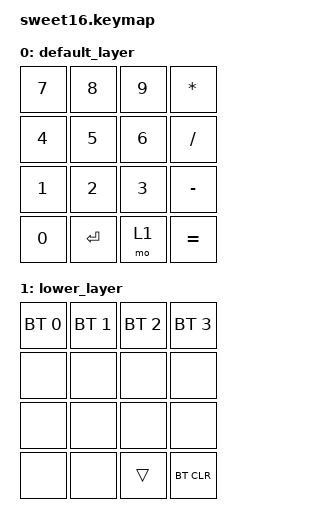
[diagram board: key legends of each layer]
/*
 * Copyright (c) 2022 The ZMK Contributors
 *
 * SPDX-License-Identifier: MIT
 */

#include <behaviors.dtsi>
#include <dt-bindings/zmk/keys.h>
#include <dt-bindings/zmk/bt.h>
#include <dt-bindings/zmk/rgb.h>

/ {
        keymap {
                compatible = "zmk,keymap";

                default_layer {
// --------------------------
// | 7 |  8  |  9  | * |
// | 4 |  5  |  6  | / |
// | 1 |  2  |  3  | - |
// | 0 | ENT | LWR | = |
                        bindings = <
   &kp N7 &kp N8    &kp N9 &kp ASTERISK
   &kp N4 &kp N5    &kp N6 &kp SLASH
   &kp N1 &kp N2    &kp N3 &kp MINUS
   &kp N0 &kp ENTER &mo 1  &kp EQUAL
                        >;
                };

                lower_layer {
// ------------------------
// | BT1 | BT2 | BT3 | BT4 |
// |     |     |     |     |
// |     |     |     |     |
// |     |     |     |BTCLR|
                        bindings = <
   &bt BT_SEL 0 &bt BT_SEL 1 &bt BT_SEL 2 &bt BT_SEL 3
   &none        &none        &none        &none 
   &none        &none        &none        &none 
   &none        &none        &trans       &bt BT_CLR 
                        >;
                };
        };
};
